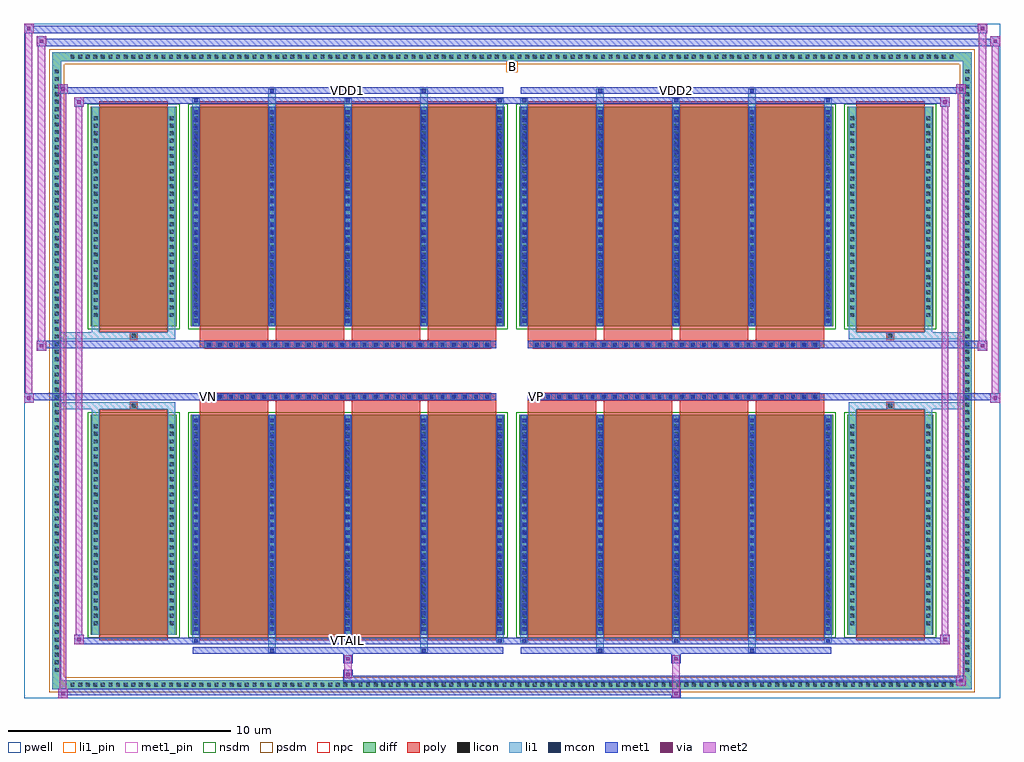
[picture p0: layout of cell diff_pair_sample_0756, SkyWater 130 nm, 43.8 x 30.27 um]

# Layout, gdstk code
import gdstk
lib = gdstk.Library(unit=1e-6, precision=5e-09)
def R(c, l, rs):  # rectangles x0, y0, x1, y1
    for r in rs: c.add(gdstk.rectangle(r[:2], r[2:], *l))
def A(c, l, x, y, w, h, nx, ny, dx, dy):  # array of equal rectangles
    R(c, l, [(x+i*dx, y+j*dy, x+i*dx+w, y+j*dy+h) for i in range(nx) for j in range(ny)])
def P(c, l, *ps):  # polygons
    for p in ps: c.add(gdstk.Polygon(p, *l))
pwell = (64, 44)
diff = (65, 20)
poly = (66, 20)
licon = (66, 44)
li1_pin = (67, 16)
li1 = (67, 20)
mcon = (67, 44)
met1_pin = (68, 16)
met1 = (68, 20)
via = (68, 44)
met2 = (69, 20)
nsdm = (93, 44)
psdm = (94, 20)
npc = (95, 20)

diff_pair_sample_0756 = lib.new_cell('diff_pair_sample_0756')
R(diff_pair_sample_0756, pwell, [(-21.9,-14.7,21.9,15.57), (-19.22,-12.89,-0.01,-0.805), (0.01,-12.89,19.22,-0.805), (-19.22,0.805,-0.01,12.89), (0.01,0.805,19.22,12.89)])
A(diff_pair_sample_0756, diff, -19.925, -14.3, 0.41, 0.41, 117, 2, 0.34, 28.19)
A(diff_pair_sample_0756, diff, -20.63, -13.635, 0.41, 0.41, 1, 80, 0, 0.34)
A(diff_pair_sample_0756, diff, 20.22, -13.635, 0.41, 0.41, 1, 80, 0, 0.34)
R(diff_pair_sample_0756, diff, [(-19.925,-14.3,19.925,-13.89), (-20.63,-13.635,-20.22,13.635), (20.22,-13.635,20.63,13.635), (-18.91,-11.845,-15.05,-1.985), (-14.41,-11.845,-0.32,-1.985), (0.32,-11.845,14.41,-1.985), (15.05,-11.845,18.91,-1.985), (-18.91,1.985,-15.05,11.845), (-14.41,1.985,-0.32,11.845), (0.32,1.985,14.41,11.845), (15.05,1.985,18.91,11.845), (-19.925,13.89,19.925,14.3)])
P(diff_pair_sample_0756, diff, [(20.63,14.3),(-20.63,14.3),(-20.63,-13.89),(-20.22,-13.89),(-20.22,13.89),(20.22,13.89),(20.22,-13.89),(-20.22,-13.89),(-20.63,-13.89),(-20.63,-14.3),(20.63,-14.3)])
A(diff_pair_sample_0756, poly, -14.02, -12.095, 3.08, 10.36, 4, 2, 3.41, 13.83)
A(diff_pair_sample_0756, poly, 0.71, -12.095, 3.08, 10.36, 4, 2, 3.41, 13.83)
A(diff_pair_sample_0756, poly, -14.02, -1.735, 3.08, 0.4, 4, 2, 3.41, 3.07)
A(diff_pair_sample_0756, poly, 0.71, -1.735, 3.08, 0.4, 4, 2, 3.41, 3.07)
A(diff_pair_sample_0756, poly, -13.78, -1.335, 0.33, 0.33, 26, 2, 0.5, 2.34)
A(diff_pair_sample_0756, poly, 0.95, -1.335, 0.33, 0.33, 26, 2, 0.5, 2.34)
R(diff_pair_sample_0756, poly, [(-18.52,-12.095,-15.44,-1.735), (15.44,-12.095,18.52,-1.735), (-17.145,-1.735,-16.815,-1.405), (-17.145,-1.735,-16.815,-1.405), (16.815,-1.735,17.145,-1.405), (16.815,-1.735,17.145,-1.405), (-14.02,-1.335,-0.71,-1.005), (0.71,-1.335,14.02,-1.005), (-14.02,1.005,-0.71,1.335), (0.71,1.005,14.02,1.335), (-17.145,1.405,-16.815,1.735), (-17.145,1.405,-16.815,1.735), (16.815,1.405,17.145,1.735), (16.815,1.405,17.145,1.735), (-18.52,1.735,-15.44,12.095), (15.44,1.735,18.52,12.095)])
A(diff_pair_sample_0756, licon, -19.805, -14.18, 0.17, 0.17, 117, 2, 0.34, 28.19)
A(diff_pair_sample_0756, licon, -20.51, -13.515, 0.17, 0.17, 1, 80, 0, 0.34)
A(diff_pair_sample_0756, licon, 20.34, -13.515, 0.17, 0.17, 1, 80, 0, 0.34)
A(diff_pair_sample_0756, licon, -18.77, -11.42, 0.17, 0.17, 1, 27, 0, 0.34)
A(diff_pair_sample_0756, licon, -15.36, -11.42, 0.17, 0.17, 1, 27, 0, 0.34)
A(diff_pair_sample_0756, licon, -14.27, -11.42, 0.17, 0.17, 5, 27, 3.41, 0.34)
A(diff_pair_sample_0756, licon, 0.46, -11.42, 0.17, 0.17, 5, 27, 3.41, 0.34)
A(diff_pair_sample_0756, licon, 15.19, -11.42, 0.17, 0.17, 1, 27, 0, 0.34)
A(diff_pair_sample_0756, licon, 18.6, -11.42, 0.17, 0.17, 1, 27, 0, 0.34)
A(diff_pair_sample_0756, licon, -13.7, -1.255, 0.17, 0.17, 26, 2, 0.5, 2.34)
A(diff_pair_sample_0756, licon, 1.03, -1.255, 0.17, 0.17, 26, 2, 0.5, 2.34)
A(diff_pair_sample_0756, licon, -18.77, 2.41, 0.17, 0.17, 1, 27, 0, 0.34)
A(diff_pair_sample_0756, licon, -15.36, 2.41, 0.17, 0.17, 1, 27, 0, 0.34)
A(diff_pair_sample_0756, licon, -14.27, 2.41, 0.17, 0.17, 5, 27, 3.41, 0.34)
A(diff_pair_sample_0756, licon, 0.46, 2.41, 0.17, 0.17, 5, 27, 3.41, 0.34)
A(diff_pair_sample_0756, licon, 15.19, 2.41, 0.17, 0.17, 1, 27, 0, 0.34)
A(diff_pair_sample_0756, licon, 18.6, 2.41, 0.17, 0.17, 1, 27, 0, 0.34)
R(diff_pair_sample_0756, licon, [(-17.065,-1.655,-16.895,-1.485), (16.895,-1.655,17.065,-1.485), (-17.065,1.485,-16.895,1.655), (16.895,1.485,17.065,1.655)])
R(diff_pair_sample_0756, li1_pin, [(-0.25,13.39,0.25,13.89)])
A(diff_pair_sample_0756, li1, -19.885, -14.26, 0.33, 0.33, 117, 2, 0.34, 28.19)
A(diff_pair_sample_0756, li1, -20.59, -13.595, 0.33, 0.33, 1, 80, 0, 0.34)
A(diff_pair_sample_0756, li1, 20.26, -13.595, 0.33, 0.33, 1, 80, 0, 0.34)
A(diff_pair_sample_0756, li1, -14.35, -12.22, 0.33, 0.375, 3, 2, 6.82, 24.065)
A(diff_pair_sample_0756, li1, -14.27, -12.22, 0.17, 0.17, 3, 2, 6.82, 24.27)
A(diff_pair_sample_0756, li1, 0.38, -12.22, 0.33, 0.375, 3, 2, 6.82, 24.065)
A(diff_pair_sample_0756, li1, 0.46, -12.22, 0.17, 0.17, 3, 2, 6.82, 24.27)
A(diff_pair_sample_0756, li1, -14.35, -11.845, 0.33, 9.86, 5, 2, 3.41, 13.83)
A(diff_pair_sample_0756, li1, 0.38, -11.845, 0.33, 9.86, 5, 2, 3.41, 13.83)
A(diff_pair_sample_0756, li1, -14.27, -11.68, 0.17, 0.17, 5, 27, 3.41, 0.36)
A(diff_pair_sample_0756, li1, -14.27, -11.68, 0.17, 9.53, 5, 2, 3.41, 13.83)
A(diff_pair_sample_0756, li1, 0.46, -11.68, 0.17, 0.17, 5, 27, 3.41, 0.36)
A(diff_pair_sample_0756, li1, 0.46, -11.68, 0.17, 9.53, 5, 2, 3.41, 13.83)
A(diff_pair_sample_0756, li1, -18.85, -11.5, 0.33, 0.33, 1, 27, 0, 0.34)
A(diff_pair_sample_0756, li1, -15.44, -11.5, 0.33, 0.33, 1, 27, 0, 0.34)
A(diff_pair_sample_0756, li1, -14.35, -11.5, 0.33, 0.33, 5, 27, 3.41, 0.34)
A(diff_pair_sample_0756, li1, 0.38, -11.5, 0.33, 0.33, 5, 27, 3.41, 0.34)
A(diff_pair_sample_0756, li1, 15.11, -11.5, 0.33, 0.33, 1, 27, 0, 0.34)
A(diff_pair_sample_0756, li1, 18.52, -11.5, 0.33, 0.33, 1, 27, 0, 0.34)
A(diff_pair_sample_0756, li1, -13.78, -1.335, 0.33, 0.33, 26, 2, 0.5, 2.34)
A(diff_pair_sample_0756, li1, 0.95, -1.335, 0.33, 0.33, 26, 2, 0.5, 2.34)
A(diff_pair_sample_0756, li1, -14.27, 2.15, 0.17, 0.17, 5, 27, 3.41, 0.36)
A(diff_pair_sample_0756, li1, 0.46, 2.15, 0.17, 0.17, 5, 27, 3.41, 0.36)
A(diff_pair_sample_0756, li1, -18.85, 2.33, 0.33, 0.33, 1, 27, 0, 0.34)
A(diff_pair_sample_0756, li1, -15.44, 2.33, 0.33, 0.33, 1, 27, 0, 0.34)
A(diff_pair_sample_0756, li1, -14.35, 2.33, 0.33, 0.33, 5, 27, 3.41, 0.34)
A(diff_pair_sample_0756, li1, 0.38, 2.33, 0.33, 0.33, 5, 27, 3.41, 0.34)
A(diff_pair_sample_0756, li1, 15.11, 2.33, 0.33, 0.33, 1, 27, 0, 0.34)
A(diff_pair_sample_0756, li1, 18.52, 2.33, 0.33, 0.33, 1, 27, 0, 0.34)
R(diff_pair_sample_0756, li1, [(-20.63,-14.3,-20.22,-13.89), (-20.63,-14.3,-20.22,-13.89), (-20.22,-14.3,20.22,-13.89), (20.22,-14.3,20.63,-13.89), (20.22,-14.3,20.63,-13.89), (-20.63,-13.89,-20.22,13.89), (20.22,-13.89,20.63,13.89), (-10.94,-12.65,-10.61,-11.845), (-10.86,-12.65,-10.69,-12.48), (-4.12,-12.65,-3.79,-11.845), (-4.04,-12.65,-3.87,-12.48), (3.79,-12.65,4.12,-11.845), (3.87,-12.65,4.04,-12.48), (10.61,-12.65,10.94,-11.845), (10.69,-12.65,10.86,-12.48), (-18.85,-11.845,-18.52,-1.985), (-15.44,-11.845,-15.11,-1.985), (15.11,-11.845,15.44,-1.985), (18.52,-11.845,18.85,-1.985), (-18.85,-1.985,-18.52,-1.405), (-15.44,-1.985,-15.11,-1.405), (15.11,-1.985,15.44,-1.405), (18.52,-1.985,18.85,-1.405), (-20.63,-1.735,-17.145,-1.405), (-18.85,-1.735,-17.145,-1.405), (-17.145,-1.735,-16.815,-1.405), (-16.815,-1.735,-15.11,-1.405), (15.11,-1.735,16.815,-1.405), (16.815,-1.735,17.145,-1.405), (16.815,-1.735,20.63,-1.405), (17.145,-1.735,18.85,-1.405), (-20.63,1.405,-17.145,1.735), (-18.85,1.405,-17.145,1.735), (-18.85,1.405,-18.52,1.985), (-17.145,1.405,-16.815,1.735), (-16.815,1.405,-15.11,1.735), (-15.44,1.405,-15.11,1.985), (15.11,1.405,16.815,1.735), (15.11,1.405,15.44,1.985), (16.815,1.405,17.145,1.735), (16.815,1.405,20.63,1.735), (17.145,1.405,18.85,1.735), (18.52,1.405,18.85,1.985), (-18.85,1.985,-18.52,11.845), (-15.44,1.985,-15.11,11.845), (15.11,1.985,15.44,11.845), (18.52,1.985,18.85,11.845), (-10.94,11.845,-10.61,12.65), (-4.12,11.845,-3.79,12.65), (3.79,11.845,4.12,12.65), (10.61,11.845,10.94,12.65), (-10.86,12.48,-10.69,12.65), (-4.04,12.48,-3.87,12.65), (3.87,12.48,4.04,12.65), (10.69,12.48,10.86,12.65), (-20.63,13.89,-20.22,14.3), (-20.63,13.89,-20.22,14.3), (-20.22,13.89,20.22,14.3), (20.22,13.89,20.63,14.3), (20.22,13.89,20.63,14.3)])
A(diff_pair_sample_0756, mcon, -14.27, -12.22, 0.17, 0.17, 3, 2, 6.82, 24.27)
A(diff_pair_sample_0756, mcon, 0.46, -12.22, 0.17, 0.17, 3, 2, 6.82, 24.27)
A(diff_pair_sample_0756, mcon, -14.27, -11.68, 0.17, 0.17, 5, 27, 3.41, 0.36)
A(diff_pair_sample_0756, mcon, 0.46, -11.68, 0.17, 0.17, 5, 27, 3.41, 0.36)
A(diff_pair_sample_0756, mcon, -13.7, -1.255, 0.17, 0.17, 26, 2, 0.5, 2.34)
A(diff_pair_sample_0756, mcon, 1.03, -1.255, 0.17, 0.17, 26, 2, 0.5, 2.34)
A(diff_pair_sample_0756, mcon, -14.27, 2.15, 0.17, 0.17, 5, 27, 3.41, 0.36)
A(diff_pair_sample_0756, mcon, 0.46, 2.15, 0.17, 0.17, 5, 27, 3.41, 0.36)
R(diff_pair_sample_0756, mcon, [(-10.86,-12.65,-10.69,-12.48), (-4.04,-12.65,-3.87,-12.48), (3.87,-12.65,4.04,-12.48), (10.69,-12.65,10.86,-12.48), (-10.86,12.48,-10.69,12.65), (-4.04,12.48,-3.87,12.65), (3.87,12.48,4.04,12.65), (10.69,12.48,10.86,12.65)])
R(diff_pair_sample_0756, met1_pin, [(-7.5,-12.26,-7.23,-11.99), (-13.75,-1.295,-13.48,-1.025), (0.98,-1.295,1.25,-1.025), (-7.5,12.44,-7.23,12.71), (7.23,12.44,7.5,12.71)])
A(diff_pair_sample_0756, met1, -14.33, -12.28, 0.29, 0.29, 3, 2, 6.82, 24.27)
A(diff_pair_sample_0756, met1, 0.4, -12.28, 0.29, 0.29, 3, 2, 6.82, 24.27)
A(diff_pair_sample_0756, met1, -14.33, -11.845, 0.29, 9.86, 5, 2, 3.41, 13.83)
A(diff_pair_sample_0756, met1, 0.4, -11.845, 0.29, 9.86, 5, 2, 3.41, 13.83)
A(diff_pair_sample_0756, met1, -14.33, -11.74, 0.29, 0.29, 5, 27, 3.41, 0.36)
A(diff_pair_sample_0756, met1, 0.4, -11.74, 0.29, 0.29, 5, 27, 3.41, 0.36)
A(diff_pair_sample_0756, met1, -13.76, -1.315, 0.29, 0.29, 26, 2, 0.5, 2.34)
A(diff_pair_sample_0756, met1, 0.97, -1.315, 0.29, 0.29, 26, 2, 0.5, 2.34)
A(diff_pair_sample_0756, met1, -14.33, 2.09, 0.29, 0.29, 5, 27, 3.41, 0.36)
A(diff_pair_sample_0756, met1, 0.4, 2.09, 0.29, 0.29, 5, 27, 3.41, 0.36)
R(diff_pair_sample_0756, met1, [(-20.36,-14.7,-19.93,-14.27), (7.15,-14.7,7.58,-14.27), (-20.36,-14.56,7.58,-14.27), (19.93,-14.13,20.36,-13.7), (-7.58,-13.99,20.36,-13.7), (-7.58,-13.85,-7.15,-13.42), (-7.58,-13.14,-7.15,-12.71), (7.15,-13.14,7.58,-12.71), (-14.33,-12.71,-0.4,-12.42), (-10.92,-12.71,-10.63,-12.42), (-4.1,-12.71,-3.81,-12.42), (0.4,-12.71,14.33,-12.42), (3.81,-12.71,4.1,-12.42), (10.63,-12.71,10.92,-12.42), (-19.65,-12.28,-19.22,-11.85), (-19.65,-12.28,-14.33,-11.99), (-14.33,-12.28,-0.4,-11.99), (-0.4,-12.28,0.4,-11.99), (0.4,-12.28,14.33,-11.99), (14.33,-12.28,19.65,-11.99), (19.22,-12.28,19.65,-11.85), (-21.9,-1.435,-21.47,-1.005), (21.47,-1.435,21.9,-1.005), (-21.9,-1.335,-0.71,-1.005), (-14.02,-1.335,-0.71,-1.005), (0.71,-1.335,14.02,-1.005), (0.71,-1.335,21.9,-1.005), (-21.33,0.905,-20.9,1.335), (20.9,0.905,21.33,1.335), (-21.33,1.005,-14.02,1.335), (-14.02,1.005,-0.71,1.335), (0.71,1.005,14.02,1.335), (14.02,1.005,21.33,1.335), (-19.65,11.85,-19.22,12.28), (19.22,11.85,19.65,12.28), (-19.65,11.99,-14.33,12.28), (-14.33,11.99,-0.4,12.28), (-0.4,11.99,0.4,12.28), (0.4,11.99,14.33,12.28), (14.33,11.99,19.65,12.28), (-20.36,12.42,-19.93,12.85), (-20.36,12.42,-14.33,12.71), (-14.33,12.42,-0.4,12.71), (-10.92,12.42,-10.63,12.71), (-4.1,12.42,-3.81,12.71), (0.4,12.42,14.33,12.71), (3.81,12.42,4.1,12.71), (10.63,12.42,10.92,12.71), (14.33,12.42,20.36,12.71), (19.93,12.42,20.36,12.85), (-21.33,14.57,-20.9,15), (-21.33,14.57,-19.22,14.9), (-19.22,14.57,19.22,14.9), (19.22,14.57,21.9,14.9), (21.47,14.57,21.9,15), (-21.9,15.14,-21.47,15.57), (-21.9,15.14,-19.22,15.47), (-19.22,15.14,19.22,15.47), (19.22,15.14,21.33,15.47), (20.9,15.14,21.33,15.57)])
R(diff_pair_sample_0756, via, [(-20.22,-14.56,-20.07,-14.41), (7.29,-14.56,7.44,-14.41), (20.07,-13.99,20.22,-13.84), (-7.44,-13.71,-7.29,-13.56), (-7.44,-13,-7.29,-12.85), (7.29,-13,7.44,-12.85), (-19.51,-12.14,-19.36,-11.99), (19.36,-12.14,19.51,-11.99), (-21.76,-1.295,-21.61,-1.145), (21.61,-1.295,21.76,-1.145), (-21.19,1.045,-21.04,1.195), (21.04,1.045,21.19,1.195), (-19.51,11.99,-19.36,12.14), (19.36,11.99,19.51,12.14), (-20.22,12.56,-20.07,12.71), (20.07,12.56,20.22,12.71), (-21.19,14.71,-21.04,14.86), (21.61,14.71,21.76,14.86), (-21.76,15.28,-21.61,15.43), (21.04,15.28,21.19,15.43)])
R(diff_pair_sample_0756, met2, [(-20.36,-14.7,-19.93,-14.27), (-20.29,-14.7,-20,12.85), (-20,-14.7,-19.93,-14.27), (-20.31,-14.65,-19.98,-14.32), (7.2,-14.65,7.53,-14.32), (7.2,-14.32,7.53,-13.09), (19.93,-14.13,20.36,-13.7), (20,-14.13,20.29,12.85), (20.29,-14.13,20.36,-13.7), (19.98,-14.08,20.31,-13.75), (-7.53,-13.8,-7.2,-13.47), (-7.53,-13.47,-7.2,-13.09), (-7.53,-13.09,-7.2,-12.76), (7.2,-13.09,7.53,-12.76), (-19.65,-12.28,-19.22,-11.85), (-19.58,-12.28,-19.29,12.28), (-19.29,-12.28,-19.22,-11.85), (19.22,-12.28,19.65,-11.85), (19.29,-12.28,19.58,12.28), (19.58,-12.28,19.65,-11.85), (-19.6,-12.23,-19.27,-11.9), (19.27,-12.23,19.6,-11.9), (-21.9,-1.435,-21.47,-1.005), (-21.85,-1.435,-21.52,15.57), (-21.52,-1.435,-21.47,-1.005), (21.47,-1.435,21.9,-1.005), (21.52,-1.435,21.85,15), (21.85,-1.435,21.9,-1.005), (-21.85,-1.385,-21.52,-1.055), (21.52,-1.385,21.85,-1.055), (-21.33,0.905,-20.9,1.335), (-21.28,0.905,-20.95,15), (-20.95,0.905,-20.9,1.335), (20.9,0.905,21.33,1.335), (20.95,0.905,21.28,15.57), (21.28,0.905,21.33,1.335), (-21.28,0.955,-20.95,1.285), (20.95,0.955,21.28,1.285), (-19.65,11.85,-19.22,12.28), (-19.29,11.85,-19.22,12.28), (19.22,11.85,19.65,12.28), (19.58,11.85,19.65,12.28), (-19.6,11.9,-19.27,12.23), (19.27,11.9,19.6,12.23), (-20.36,12.42,-19.93,12.85), (-20,12.42,-19.93,12.85), (19.93,12.42,20.36,12.85), (20.29,12.42,20.36,12.85), (-20.31,12.47,-19.98,12.8), (19.98,12.47,20.31,12.8), (-21.33,14.57,-20.9,15), (-20.95,14.57,-20.9,15), (21.47,14.57,21.9,15), (21.85,14.57,21.9,15), (-21.28,14.62,-20.95,14.95), (21.52,14.62,21.85,14.95), (-21.9,15.14,-21.47,15.57), (-21.52,15.14,-21.47,15.57), (20.9,15.14,21.33,15.57), (21.28,15.14,21.33,15.57), (-21.85,15.19,-21.52,15.52), (20.95,15.19,21.28,15.52)])
R(diff_pair_sample_0756, nsdm, [(-19.04,-11.975,-14.92,-1.855), (-14.54,-11.975,-0.19,-1.855), (0.19,-11.975,14.54,-1.855), (14.92,-11.975,19.04,-1.855), (-19.04,1.855,-14.92,11.975), (-14.54,1.855,-0.19,11.975), (0.19,1.855,14.54,11.975), (14.92,1.855,19.04,11.975)])
P(diff_pair_sample_0756, psdm, [(20.76,14.43),(-20.76,14.43),(-20.76,-13.76),(-20.09,-13.76),(-20.09,13.76),(20.09,13.76),(20.09,-13.76),(-20.09,-13.76),(-20.76,-13.76),(-20.76,-14.43),(20.76,-14.43)])
A(diff_pair_sample_0756, npc, -13.8, -1.355, 0.37, 0.37, 26, 2, 0.5, 2.34)
A(diff_pair_sample_0756, npc, 0.93, -1.355, 0.37, 0.37, 26, 2, 0.5, 2.34)
R(diff_pair_sample_0756, npc, [(-17.165,-1.755,-16.795,-1.385), (16.795,-1.755,17.165,-1.385), (-13.8,-1.355,-12.93,-0.985), (-13.8,-1.355,-12.93,-0.985), (-13.3,-1.355,-12.43,-0.985), (-13.3,-1.355,-12.43,-0.985), (-12.8,-1.355,-11.93,-0.985), (-12.8,-1.355,-11.93,-0.985), (-12.3,-1.355,-11.43,-0.985), (-12.3,-1.355,-11.43,-0.985), (-11.8,-1.355,-10.93,-0.985), (-11.8,-1.355,-10.93,-0.985), (-11.3,-1.355,-10.43,-0.985), (-11.3,-1.355,-10.43,-0.985), (-10.8,-1.355,-9.93,-0.985), (-10.8,-1.355,-9.93,-0.985), (-10.3,-1.355,-9.43,-0.985), (-10.3,-1.355,-9.43,-0.985), (-9.8,-1.355,-8.93,-0.985), (-9.8,-1.355,-8.93,-0.985), (-9.3,-1.355,-8.43,-0.985), (-9.3,-1.355,-8.43,-0.985), (-8.8,-1.355,-7.93,-0.985), (-8.8,-1.355,-7.93,-0.985), (-8.3,-1.355,-7.43,-0.985), (-8.3,-1.355,-7.43,-0.985), (-7.8,-1.355,-6.93,-0.985), (-7.8,-1.355,-6.93,-0.985), (-7.3,-1.355,-6.43,-0.985), (-7.3,-1.355,-6.43,-0.985), (-6.8,-1.355,-5.93,-0.985), (-6.8,-1.355,-5.93,-0.985), (-6.3,-1.355,-5.43,-0.985), (-6.3,-1.355,-5.43,-0.985), (-5.8,-1.355,-4.93,-0.985), (-5.8,-1.355,-4.93,-0.985), (-5.3,-1.355,-4.43,-0.985), (-5.3,-1.355,-4.43,-0.985), (-4.8,-1.355,-3.93,-0.985), (-4.8,-1.355,-3.93,-0.985), (-4.3,-1.355,-3.43,-0.985), (-4.3,-1.355,-3.43,-0.985), (-3.8,-1.355,-2.93,-0.985), (-3.8,-1.355,-2.93,-0.985), (-3.3,-1.355,-2.43,-0.985), (-3.3,-1.355,-2.43,-0.985), (-2.8,-1.355,-1.93,-0.985), (-2.8,-1.355,-1.93,-0.985), (-2.3,-1.355,-1.43,-0.985), (-2.3,-1.355,-1.43,-0.985), (-1.8,-1.355,-0.93,-0.985), (-1.8,-1.355,-0.93,-0.985), (0.93,-1.355,1.8,-0.985), (0.93,-1.355,1.8,-0.985), (1.43,-1.355,2.3,-0.985), (1.43,-1.355,2.3,-0.985), (1.93,-1.355,2.8,-0.985), (1.93,-1.355,2.8,-0.985), (2.43,-1.355,3.3,-0.985), (2.43,-1.355,3.3,-0.985), (2.93,-1.355,3.8,-0.985), (2.93,-1.355,3.8,-0.985), (3.43,-1.355,4.3,-0.985), (3.43,-1.355,4.3,-0.985), (3.93,-1.355,4.8,-0.985), (3.93,-1.355,4.8,-0.985), (4.43,-1.355,5.3,-0.985), (4.43,-1.355,5.3,-0.985), (4.93,-1.355,5.8,-0.985), (4.93,-1.355,5.8,-0.985), (5.43,-1.355,6.3,-0.985), (5.43,-1.355,6.3,-0.985), (5.93,-1.355,6.8,-0.985), (5.93,-1.355,6.8,-0.985), (6.43,-1.355,7.3,-0.985), (6.43,-1.355,7.3,-0.985), (6.93,-1.355,7.8,-0.985), (6.93,-1.355,7.8,-0.985), (7.43,-1.355,8.3,-0.985), (7.43,-1.355,8.3,-0.985), (7.93,-1.355,8.8,-0.985), (7.93,-1.355,8.8,-0.985), (8.43,-1.355,9.3,-0.985), (8.43,-1.355,9.3,-0.985), (8.93,-1.355,9.8,-0.985), (8.93,-1.355,9.8,-0.985), (9.43,-1.355,10.3,-0.985), (9.43,-1.355,10.3,-0.985), (9.93,-1.355,10.8,-0.985), (9.93,-1.355,10.8,-0.985), (10.43,-1.355,11.3,-0.985), (10.43,-1.355,11.3,-0.985), (10.93,-1.355,11.8,-0.985), (10.93,-1.355,11.8,-0.985), (11.43,-1.355,12.3,-0.985), (11.43,-1.355,12.3,-0.985), (11.93,-1.355,12.8,-0.985), (11.93,-1.355,12.8,-0.985), (12.43,-1.355,13.3,-0.985), (12.43,-1.355,13.3,-0.985), (12.93,-1.355,13.8,-0.985), (12.93,-1.355,13.8,-0.985), (-13.8,0.985,-12.93,1.355), (-13.8,0.985,-12.93,1.355), (-13.3,0.985,-12.43,1.355), (-13.3,0.985,-12.43,1.355), (-12.8,0.985,-11.93,1.355), (-12.8,0.985,-11.93,1.355), (-12.3,0.985,-11.43,1.355), (-12.3,0.985,-11.43,1.355), (-11.8,0.985,-10.93,1.355), (-11.8,0.985,-10.93,1.355), (-11.3,0.985,-10.43,1.355), (-11.3,0.985,-10.43,1.355), (-10.8,0.985,-9.93,1.355), (-10.8,0.985,-9.93,1.355), (-10.3,0.985,-9.43,1.355), (-10.3,0.985,-9.43,1.355), (-9.8,0.985,-8.93,1.355), (-9.8,0.985,-8.93,1.355), (-9.3,0.985,-8.43,1.355), (-9.3,0.985,-8.43,1.355), (-8.8,0.985,-7.93,1.355), (-8.8,0.985,-7.93,1.355), (-8.3,0.985,-7.43,1.355), (-8.3,0.985,-7.43,1.355), (-7.8,0.985,-6.93,1.355), (-7.8,0.985,-6.93,1.355), (-7.3,0.985,-6.43,1.355), (-7.3,0.985,-6.43,1.355), (-6.8,0.985,-5.93,1.355), (-6.8,0.985,-5.93,1.355), (-6.3,0.985,-5.43,1.355), (-6.3,0.985,-5.43,1.355), (-5.8,0.985,-4.93,1.355), (-5.8,0.985,-4.93,1.355), (-5.3,0.985,-4.43,1.355), (-5.3,0.985,-4.43,1.355), (-4.8,0.985,-3.93,1.355), (-4.8,0.985,-3.93,1.355), (-4.3,0.985,-3.43,1.355), (-4.3,0.985,-3.43,1.355), (-3.8,0.985,-2.93,1.355), (-3.8,0.985,-2.93,1.355), (-3.3,0.985,-2.43,1.355), (-3.3,0.985,-2.43,1.355), (-2.8,0.985,-1.93,1.355), (-2.8,0.985,-1.93,1.355), (-2.3,0.985,-1.43,1.355), (-2.3,0.985,-1.43,1.355), (-1.8,0.985,-0.93,1.355), (-1.8,0.985,-0.93,1.355), (0.93,0.985,1.8,1.355), (0.93,0.985,1.8,1.355), (1.43,0.985,2.3,1.355), (1.43,0.985,2.3,1.355), (1.93,0.985,2.8,1.355), (1.93,0.985,2.8,1.355), (2.43,0.985,3.3,1.355), (2.43,0.985,3.3,1.355), (2.93,0.985,3.8,1.355), (2.93,0.985,3.8,1.355), (3.43,0.985,4.3,1.355), (3.43,0.985,4.3,1.355), (3.93,0.985,4.8,1.355), (3.93,0.985,4.8,1.355), (4.43,0.985,5.3,1.355), (4.43,0.985,5.3,1.355), (4.93,0.985,5.8,1.355), (4.93,0.985,5.8,1.355), (5.43,0.985,6.3,1.355), (5.43,0.985,6.3,1.355), (5.93,0.985,6.8,1.355), (5.93,0.985,6.8,1.355), (6.43,0.985,7.3,1.355), (6.43,0.985,7.3,1.355), (6.93,0.985,7.8,1.355), (6.93,0.985,7.8,1.355), (7.43,0.985,8.3,1.355), (7.43,0.985,8.3,1.355), (7.93,0.985,8.8,1.355), (7.93,0.985,8.8,1.355), (8.43,0.985,9.3,1.355), (8.43,0.985,9.3,1.355), (8.93,0.985,9.8,1.355), (8.93,0.985,9.8,1.355), (9.43,0.985,10.3,1.355), (9.43,0.985,10.3,1.355), (9.93,0.985,10.8,1.355), (9.93,0.985,10.8,1.355), (10.43,0.985,11.3,1.355), (10.43,0.985,11.3,1.355), (10.93,0.985,11.8,1.355), (10.93,0.985,11.8,1.355), (11.43,0.985,12.3,1.355), (11.43,0.985,12.3,1.355), (11.93,0.985,12.8,1.355), (11.93,0.985,12.8,1.355), (12.43,0.985,13.3,1.355), (12.43,0.985,13.3,1.355), (12.93,0.985,13.8,1.355), (12.93,0.985,13.8,1.355), (-17.165,1.385,-16.795,1.755), (16.795,1.385,17.165,1.755)])
diff_pair_sample_0756.add(gdstk.Label('VTAIL', (-7.365,-12.125), layer=68, texttype=5))
diff_pair_sample_0756.add(gdstk.Label('VN', (-13.615,-1.16), layer=68, texttype=5))
diff_pair_sample_0756.add(gdstk.Label('VP', (1.115,-1.16), layer=68, texttype=5))
diff_pair_sample_0756.add(gdstk.Label('B', (0,13.64), layer=67, texttype=5))
diff_pair_sample_0756.add(gdstk.Label('VDD2', (7.365,12.575), layer=68, texttype=5))
diff_pair_sample_0756.add(gdstk.Label('VDD1', (-7.365,12.575), layer=68, texttype=5))

lib.write_gds('diff_pair_sample_0756.gds')
